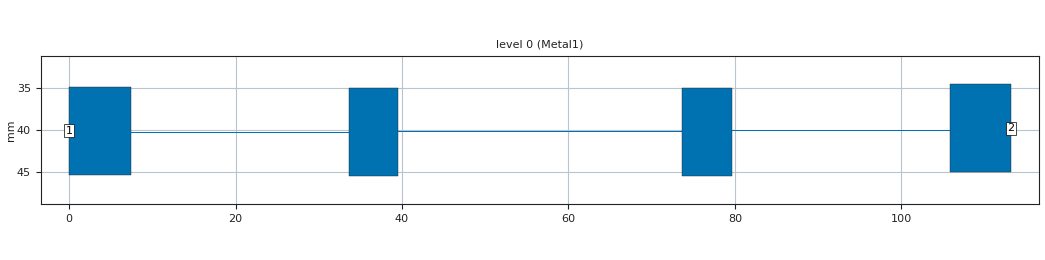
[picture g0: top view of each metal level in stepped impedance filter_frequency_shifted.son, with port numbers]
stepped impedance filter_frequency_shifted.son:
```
FTYP SONPROJ 19 ! Sonnet Project File
VER 18.53
HEADER
LIC SL61ea36e0
DAT 02/17/2022 22:14:38
BUILT_BY_CREATED xgeom 18.53-Lite 02/16/2022 13:40:03
BUILT_BY_SAVED sonnet 18.53-Lite
MDATE 02/16/2022 15:24:21
HDATE 02/16/2022 15:24:21
END HEADER
DIM
ANG DEG
CAP PF
CON /OH
FREQ GHZ
IND NH
LNG MM
RES OH
END DIM
CONTROL
VARSWP
OPTIONS  -d
SPEED 0
CACHE_ABS 2
Q_ACC N
END CONTROL
GEO
TMET "Free Space" 0 FREESPACE 376.7303136 0 0 0
BMET "Copper" 1 NOR 58000000 0.5 0.035 
MET "Copper" 1 NOR 58000000 0.5 0.035 
MET "Aluminum" 2 NOR 37200000 0.5 0.035 
MET "Copper1" 3 NOR 58000000 0.5 0.035 
BOX 1 113.2 80 2264 1600 20 0
      20 1 1 0 0 0 0 "Air"
      1.6 4.4 1 0.02 0 0 0 "FR-4"
TECHLAY METAL Metal1 <UNSPECIFIED> -2 -65534 
0 0 0 N 143 1 1 100 100 0 0 0 Y
END
END
LORGN 0 80 U 
POR1 BOX
POLY 39 1
3
1 50 0 0 0 1.998401444e-15 40.1 
POR1 BOX
POLY 41 1
1
2 50 0 0 0 113.2 39.8 
NUM 7
0 5 0 N 39 1 1 100 100 0 0 0 Y
TLAYNAM Metal1 INH
1.998401444e-15 34.8
7.4 34.8
7.4 45.4
1.998401444e-15 45.4
1.998401444e-15 34.8
END
0 5 0 N 41 1 1 100 100 0 0 0 Y
TLAYNAM Metal1 INH
105.8 34.5
113.2 34.5
113.2 45.1
105.8 45.1
105.8 34.5
END
0 5 0 N 42 1 1 100 100 0 0 0 Y
TLAYNAM Metal1 INH
7.4 40.3
33.6 40.3
33.6 40.4
7.4 40.4
7.4 40.3
END
0 5 0 N 52 1 1 100 100 0 0 0 Y
TLAYNAM Metal1 INH
33.6 34.9
39.5 34.9
39.5 45.5
33.6 45.5
33.6 34.9
END
0 5 0 N 54 1 1 100 100 0 0 0 Y
TLAYNAM Metal1 INH
39.5 40.1
73.7 40.1
73.7 40.2
39.5 40.2
39.5 40.1
END
0 5 0 N 130 1 1 100 100 0 0 0 Y
TLAYNAM Metal1 INH
79.6 40
105.8 40
105.8 40.1
79.6 40.1
79.6 40
END
0 5 0 N 131 1 1 100 100 0 0 0 Y
TLAYNAM Metal1 INH
73.7 34.9
79.6 34.9
79.6 45.5
73.7 45.5
73.7 34.9
END
END GEO
OPT
MAX 100
END OPT
VARSWP
ENABLED Y
FREQ Y AN SWEEP 0.05 3.0 0.05
END
END VARSWP
```
